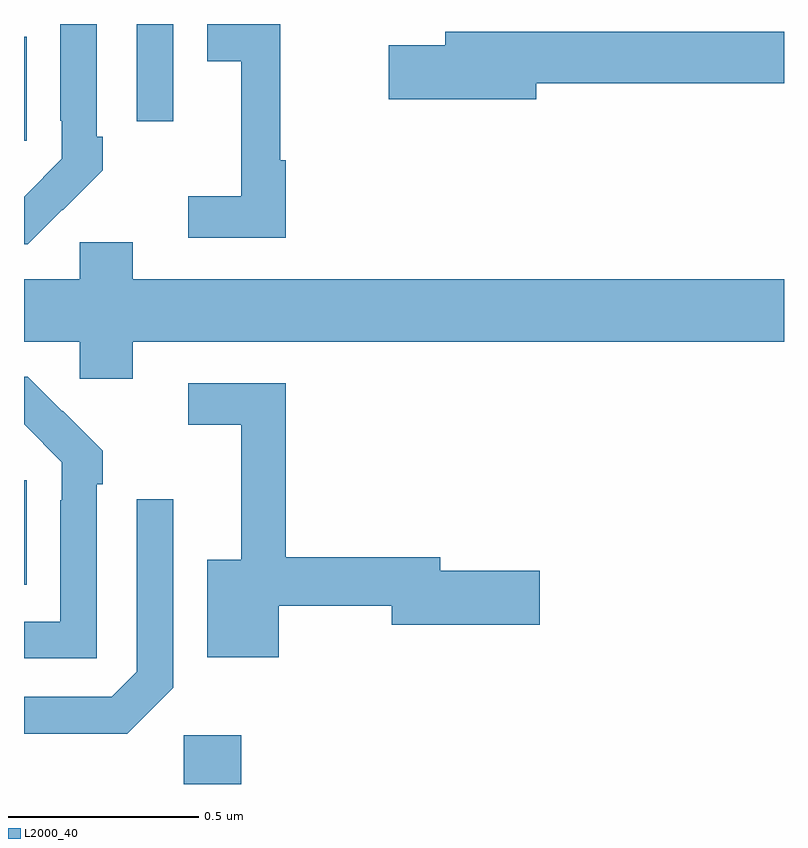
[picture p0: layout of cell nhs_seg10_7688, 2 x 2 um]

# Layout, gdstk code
import gdstk
lib = gdstk.Library(unit=1e-6, precision=1e-09)
def R(c, l, rs):  # rectangles x0, y0, x1, y1
    for r in rs: c.add(gdstk.rectangle(r[:2], r[2:], *l))
def P(c, l, *ps):  # polygons
    for p in ps: c.add(gdstk.Polygon(p, *l))
L2000_40 = (2000, 40)

nhs_seg10_7688 = lib.new_cell('nhs_seg10_7688')
R(nhs_seg10_7688, L2000_40, [(207.42,1284.5,207.572,1284.628), (207,1285.025,207.007,1285.3), (207,1286.193,207.007,1286.467), (207.297,1286.244,207.393,1286.5)])
P(nhs_seg10_7688, L2000_40, [(207.101,1286.011),(207.102,1286.01),(207.207,1286.115),(207.207,1286.203),(207.192,1286.203),(207.192,1286.5),(207.096,1286.5),(207.096,1286.245),(207.099,1286.245),(207.099,1286.145),(207,1286.046),(207,1285.92),(207.01,1285.92)],
  [(207.689,1286.141),(207.674,1286.141),(207.674,1286.5),(207.482,1286.5),(207.482,1286.402),(207.572,1286.402),(207.572,1286.047),(207.432,1286.047),(207.432,1285.938),(207.689,1285.938)],
  [(208.348,1286.344),(209,1286.344),(209,1286.48),(208.109,1286.48),(208.109,1286.444),(207.96,1286.444),(207.96,1286.302),(208.348,1286.302)],
  [(207.286,1285.664),(209,1285.664),(209,1285.828),(207.286,1285.828),(207.286,1285.926),(207.147,1285.926),(207.147,1285.828),(207,1285.828),(207,1285.664),(207.147,1285.664),(207.147,1285.566),(207.286,1285.566)],
  [(207.192,1285.289),(207.207,1285.289),(207.207,1285.377),(207.102,1285.482),(207.101,1285.481),(207.01,1285.572),(207,1285.572),(207,1285.447),(207.099,1285.347),(207.099,1285.247),(207.096,1285.247),(207.096,1284.927),(207,1284.927),(207,1284.831),(207.192,1284.831)],
  [(207.67,1284.969),(207.968,1284.969),(207.968,1284.919),(208.357,1284.919),(208.357,1285.061),(208.096,1285.061),(208.096,1285.097),(207.689,1285.097),(207.689,1285.554),(207.432,1285.554),(207.432,1285.446),(207.572,1285.446),(207.572,1285.09),(207.482,1285.09),(207.482,1284.833),(207.67,1284.833)],
  [(207.393,1284.753),(207.393,1285.249),(207.297,1285.249),(207.297,1284.795),(207.231,1284.729),(207,1284.729),(207,1284.632),(207.272,1284.632)])

lib.write_gds('nhs_seg10_7688.gds')
